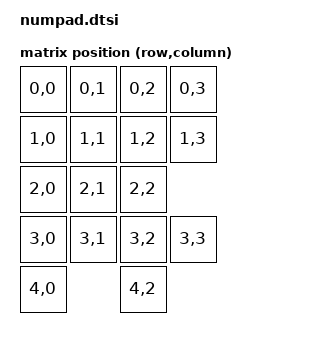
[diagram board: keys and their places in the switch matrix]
#include <dt-bindings/zmk/matrix_transform.h>

/ {
    chosen {
        zmk,kscan = &kscan0;
        zmk,matrix-transform = &default_transform;
        zmk,battery = &vbatt;
    };

    default_transform: keymap_transform_0 {
        compatible = "zmk,matrix-transform";
        columns = <4>; 
        rows = <5>; 
        map = <
            RC(0,0) RC(0,1) RC(0,2) RC(0,3)
            RC(1,0) RC(1,1) RC(1,2) RC(1,3)
            RC(2,0) RC(2,1) RC(2,2)
            RC(3,0) RC(3,1) RC(3,2) RC(3,3)
            RC(4,0)         RC(4,2)
        >;
    };
    
    kscan0: kscan {
        compatible = "zmk,kscan-gpio-matrix";
        diode-direction = "row2col";
        wakeup-source;
    };

      vbatt: vbatt {
        compatible = "zmk,battery-voltage-divider";
        io-channels = <&adc 7>;
        output-ohms = <510000>;
        full-ohms = <(510000 + 1000000)>;
        power-gpios = <&gpio0 14 (GPIO_OPEN_DRAIN | GPIO_ACTIVE_LOW)>;
    };

    &gpio0 {
        fastbatcharge: fast-battery-charge {
        gpio-hog;
        gpios = <13 GPIO_ACTIVE_HIGH>;
        output-low;
        line-name = "Fast Battery Charge";
        };
    };
};
